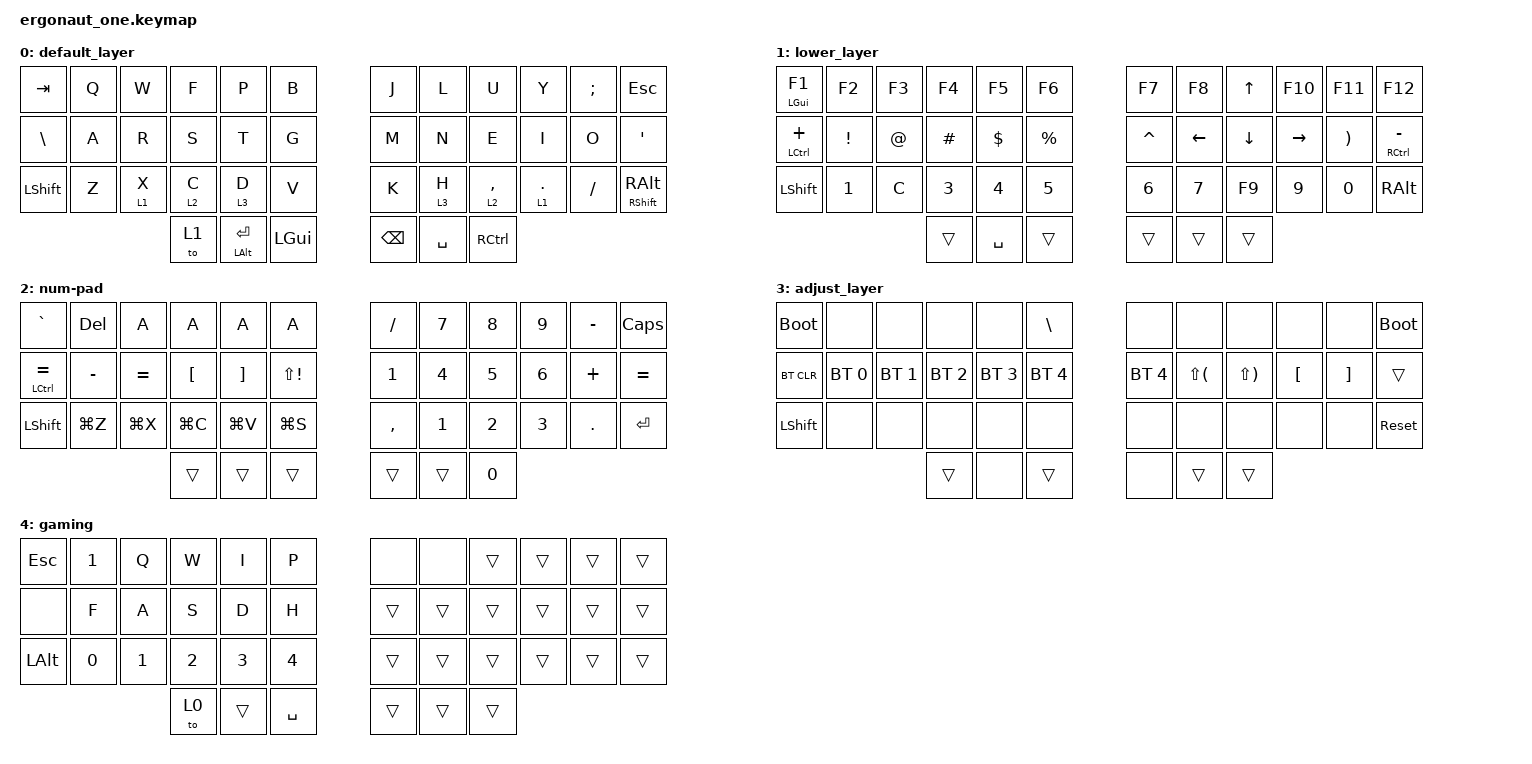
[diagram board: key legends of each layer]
#include <behaviors.dtsi>
#include <dt-bindings/zmk/bt.h>
#include <dt-bindings/zmk/keys.h>

#define DEF 0
#define LWR 1
#define RSE 2
#define ADJ 3

&lt { quick-tap-ms = <200>; };

&mt { quick-tap-ms = <200>; };

/ {
    conditional_layers { compatible = "zmk,conditional-layers"; };

    combos {
        compatible = "zmk,combos";

        left-rectangle {
            bindings = <&kp LC(LA(LEFT))>;
            key-positions = <38 39 16>;
        };

        right-rectangle {
            bindings = <&kp LA(LC(RIGHT))>;
            key-positions = <38 39 19>;
        };

        pwd {
            bindings = <&pwd>;
            key-positions = <12 23>;
        };

        Full {
            bindings = <&kp LA(LC(ENTER))>;
            key-positions = <38 16 39 19>;
        };

        default {
            bindings = <&to 0>;
            key-positions = <0 11>;
        };

        bootloader {
            bindings = <&bootloader>;
            key-positions = <24 23>;
        };
    };

    macros {
        pwd: pwd {
            compatible = "zmk,behavior-macro";
            #binding-cells = <0>;
            bindings = <&kp LS(F) &kp LS(T) &kp LS(W) &kp N2 &kp N0 &kp N2 &kp N1 &kp DLLR>;
            label = "PWD";
        };
    };

    keymap {
        compatible = "zmk,keymap";

        default_layer {
            bindings = <
&kp TAB         &kp Q  &kp W    &kp F    &kp P               &kp B         &kp J          &kp L      &kp U              &kp Y         &kp SEMICOLON  &kp ESC
&kp BACKSLASH   &kp A  &kp R    &kp S    &kp T               &kp G         &kp M          &kp N      &kp E              &kp I         &kp O          &kp SQT
&kp LEFT_SHIFT  &kp Z  &lt 1 X  &lt 2 C  &lt 3 D             &kp V         &kp K          &lt 3 H    &lt 2 COMMA        &lt 1 PERIOD  &kp FSLH       &mt RIGHT_SHIFT RIGHT_ALT
                                &to 1    &mt LEFT_ALT ENTER  &kp LEFT_GUI  &kp BACKSPACE  &kp SPACE  &kp RIGHT_CONTROL
            >;
        };

        lower_layer {
            bindings = <
&mt LGUI F1     &kp F2    &kp F3  &kp F4    &kp F5     &kp F6     &kp F7     &kp F8          &kp UP_ARROW  &kp F10    &kp F11   &kp F12
&mt LCTRL PLUS  &kp EXCL  &kp AT  &kp HASH  &kp DLLR   &kp PRCNT  &kp CARET  &kp LEFT_ARROW  &kp DOWN      &kp RIGHT  &kp RPAR  &mt RCTRL MINUS
&kp LEFT_SHIFT  &kp N1    &kp C   &kp N3    &kp N4     &kp N5     &kp N6     &kp N7          &kp F9        &kp N9     &kp N0    &kp RALT
                                  &trans    &kp SPACE  &trans     &trans     &trans          &trans
            >;
        };

        num-pad {
            bindings = <
&kp GRAVE        &kp DEL    &kp A      &kp A      &kp A      &kp A         &kp FSLH   &kp N7        &kp N8        &kp N9        &kp MINUS   &kp CLCK
&mt LCTRL EQUAL  &kp MINUS  &kp EQUAL  &kp LBKT   &kp RBKT   &kp LS(EXCL)  &kp N1     &kp NUMBER_4  &kp N5        &kp NUMBER_6  &kp PLUS    &kp EQUAL
&kp LEFT_SHIFT   &kp LG(Z)  &kp LG(X)  &kp LG(C)  &kp LG(V)  &kp LG(S)     &kp COMMA  &kp NUMBER_1  &kp NUMBER_2  &kp NUMBER_3  &kp PERIOD  &kp ENTER
                                       &trans     &trans     &trans        &trans     &trans        &kp N0
            >;
        };

        adjust_layer {
            bindings = <
&bootloader     &none         &none         &none         &none         &kp BACKSLASH  &none         &none         &none         &none     &none     &bootloader
&bt BT_CLR      &bt BT_SEL 0  &bt BT_SEL 1  &bt BT_SEL 2  &bt BT_SEL 3  &bt BT_SEL 4   &bt BT_SEL 4  &kp LS(LPAR)  &kp LS(RPAR)  &kp LBKT  &kp RBKT  &trans
&kp LEFT_SHIFT  &none         &none         &none         &none         &none          &none         &none         &none         &none     &none     &sys_reset
                                            &trans        &none         &trans         &none         &trans        &trans
            >;
        };

        gaming {
            bindings = <
&kp ESCAPE  &kp NUMBER_1  &kp Q   &kp W   &kp I   &kp P      &none   &none   &trans  &trans  &trans  &trans
&none       &kp F         &kp A   &kp S   &kp D   &kp H      &trans  &trans  &trans  &trans  &trans  &trans
&kp LALT    &kp N0        &kp N1  &kp N2  &kp N3  &kp N4     &trans  &trans  &trans  &trans  &trans  &trans
                                  &to 0   &trans  &kp SPACE  &trans  &trans  &trans
            >;
        };
    };
};
